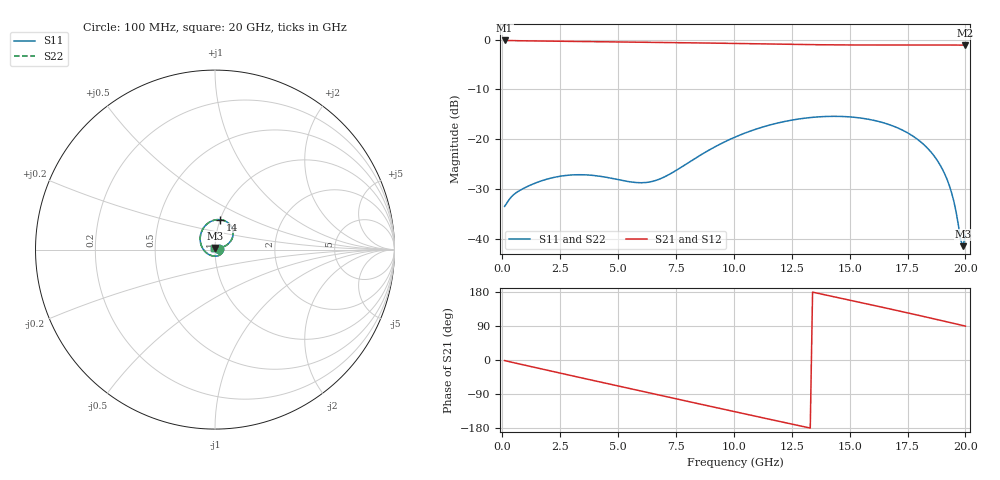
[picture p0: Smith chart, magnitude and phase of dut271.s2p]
! Touchstone file exported from HFSS 2026.1.0
!  File:  C:/ffzhzh/LocalFiles/Ansys_Project_Files/temp_train_TSV_RDL_271_1783084434_35048.aedt
!  Generated:  09:22:03 PM Jul  3, 2026
!  Design:  TSV_RDL
!  Project:  temp_train_TSV_RDL_271_1783084434_35048
! Variables:
!  h_bsmrdl = 2.06um
!  h_ox = 20um
!  h_rdl = 5um
!  h_sub = 98.88um
!  h_tmrdl = 4.83um
!  h_tsv = 98.88um
!  h_via = 3um
!  l_bsmrdl = 109.89um
!  l_sub = 3972.51um
!  l_tmrdl = 784.61um
!  m_sub = 200um
!  pitch = 22.03um
!  r_tsv = 9.03um
!  s_tmrdl = 10um
!  w_bsmrdl = 20.87um
!  w_sub = 500um
!  w_tmrdl = 13.93um
!  x_tsv_center1 = 791.575um
!  x_tsv_center2 = 922.335um
!  x_tsv_center3 = 1720.875um
!  x_tsv_center4 = 1851.635um
!  x_tsv_center5 = 2650.175um
!  x_tsv_center6 = 2780.935um
# GHz S MA R 50.000000
! Terminal data exported
! Port[1] = TM_RDL1_1_T1
! Port[2] = TM_RDL5_1_T1
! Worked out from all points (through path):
!   200 points, 100 MHz to 20 GHz, reference 50 ohm
!   highest |S21| = -0.18 dB at 100 MHz (marker M1); lowest = -1.1 dB at 20 GHz (marker M2)
!   group delay of S21, straight-line fit = 37.3 ps
!   lowest |S11| = -41.4 dB at 19.9 GHz (marker M3), VSWR 1.02, Z = 49.9 + j0.843 ohm
!   |S11| at or under -10 dB: start of sweep to end of sweep
!   |S22| runs from -41.6 to -15.4 dB; largest |S21 - S12| = 1.7e-14
!   S11 on the Smith chart (normalised r, x): 100 MHz: 1.04, +0.01; 14 GHz: 1.00, +0.34; 20 GHz: 0.99, +0.02
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0.1  0.0212 7.6  0.9791 -1.5  0.9791 -1.5  0.0212 7.6
! Gamma 0 0 0 0
! Port Impedance 50 0 50 0
0.5  0.02792 15.1  0.9741 -7.2  0.9741 -7.2  0.02792 15.1
1.4  0.03613 11.7  0.9683 -19.6  0.9683 -19.6  0.03613 11.7
2.4  0.04217 1.0  0.9626 -33.3  0.9626 -33.3  0.04217 1.0
3.5  0.04402 -17.0  0.9565 -48.2  0.9565 -48.2  0.04402 -17.1
5.2  0.03855 -60.5  0.947 -71.2  0.947 -71.2  0.03855 -60.6
6.1  0.03667 -95.6  0.9417 -83.4  0.9417 -83.4  0.03668 -95.6
6.8  0.03992 -126.2  0.9374 -92.9  0.9374 -92.9  0.03994 -126.3
8.4  0.0658 178.1  0.9262 -114.4  0.9262 -114.4  0.06585 178.0
10.1  0.1063 140.8  0.9125 -137.2  0.9125 -137.2  0.1063 140.8
11.8  0.1437 112.3  0.8988 -159.8  0.8988 -159.8  0.1438 112.2
13.4  0.1659 88.7  0.8883 179.1  0.8883 179.1  0.166 88.6
14  0.1693 80.2  0.8855 171.2  0.8855 171.2  0.1693 80.2
15.3  0.1651 62.5  0.8818 154.0  0.8818 154.0  0.1651 62.4
16.7  0.1404 44.0  0.8813 135.3  0.8813 135.3  0.1405 44.0
18  0.09702 27.8  0.8822 117.6  0.8822 117.6  0.097 27.7
18.9  0.05557 19.1  0.8819 105.0  0.8819 105.0  0.05553 18.9
19.4  0.02927 20.1  0.881 98.0  0.881 98.0  0.02919 19.9
19.6  0.01862 27.5  0.8804 95.2  0.8804 95.2  0.01852 27.1
19.8  0.009697 57.8  0.8796 92.3  0.8796 92.3  0.009554 57.6
19.9  0.008463 94.2  0.8792 90.9  0.8792 90.9  0.008336 94.6
20  0.01106 125.8  0.8787 89.5  0.8787 89.5  0.01099 126.4
